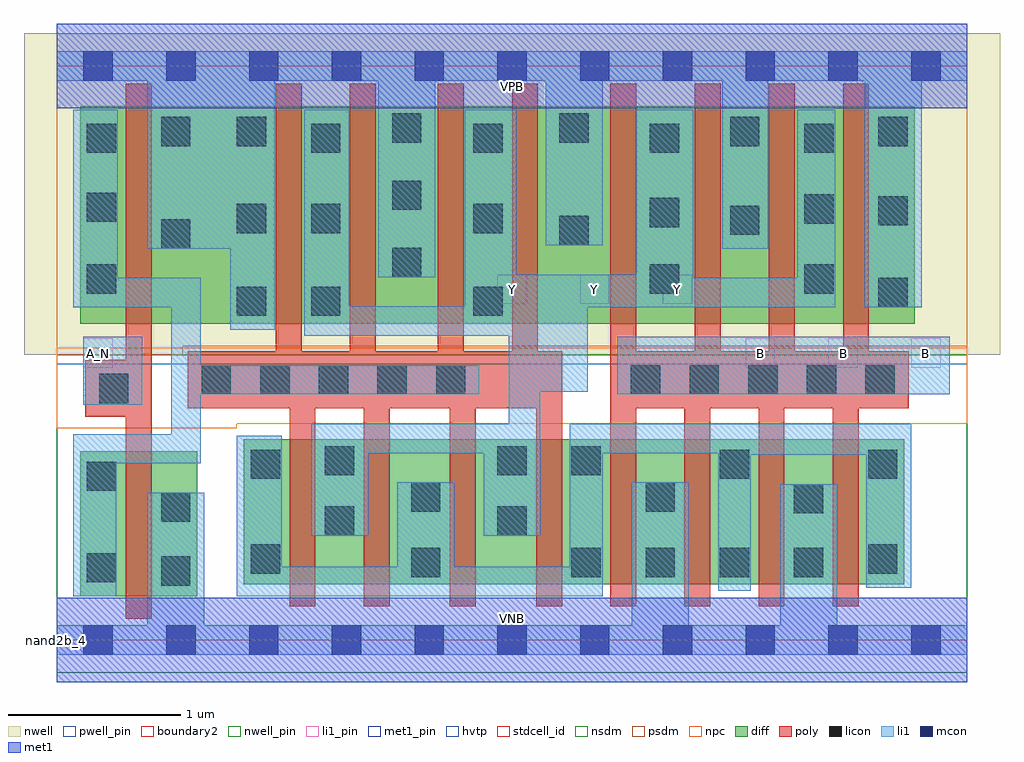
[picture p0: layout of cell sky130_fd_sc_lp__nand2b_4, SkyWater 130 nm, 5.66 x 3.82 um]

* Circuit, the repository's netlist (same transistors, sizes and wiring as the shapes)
* Copyright 2020 The SkyWater PDK Authors
*
* Licensed under the Apache License, Version 2.0 (the "License");
* you may not use this file except in compliance with the License.
* You may obtain a copy of the License at
*
*     https://www.apache.org/licenses/LICENSE-2.0
*
* Unless required by applicable law or agreed to in writing, software
* distributed under the License is distributed on an "AS IS" BASIS,
* WITHOUT WARRANTIES OR CONDITIONS OF ANY KIND, either express or implied.
* See the License for the specific language governing permissions and
* limitations under the License.
*
* SPDX-License-Identifier: Apache-2.0

.SUBCKT sky130_fd_sc_lp__nand2b_4 A_N B VGND VNB VPB VPWR Y
*.PININFO A_N:I B:I VGND:I VNB:I VPB:I VPWR:I Y:O
MMP0 Y A VPWR VPB sky130_fd_pr__pfet_01v8_hvt m=4 w=1.26U l=0.15U mult=1 sa=0.265
+ sb=0.265 sd=0.28 area=0.063 perim=1.14
MMP1 Y B VPWR VPB sky130_fd_pr__pfet_01v8_hvt m=4 w=1.26U l=0.15U mult=1 sa=0.265
+ sb=0.265 sd=0.28 area=0.063 perim=1.14
MMIP0 A A_N VPWR VPB sky130_fd_pr__pfet_01v8_hvt m=1 w=1.26U l=0.15U mult=1 sa=0.265
+ sb=0.265 sd=0.28 area=0.063 perim=1.14
MMN0 Y A sndA VNB sky130_fd_pr__nfet_01v8 m=4 w=0.84U l=0.15U mult=1 sa=0.265 sb=0.265
+ sd=0.28 area=0.063 perim=1.14
MMN1 sndA B VGND VNB sky130_fd_pr__nfet_01v8 m=4 w=0.84U l=0.15U mult=1 sa=0.265
+ sb=0.265 sd=0.28 area=0.063 perim=1.14
MMIN0 A A_N VGND VNB sky130_fd_pr__nfet_01v8 m=1 w=0.84U l=0.15U mult=1 sa=0.265
+ sb=0.265 sd=0.28 area=0.063 perim=1.14
.ENDS sky130_fd_sc_lp__nand2b_4

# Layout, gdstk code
import gdstk
lib = gdstk.Library(unit=1e-6, precision=1e-09)
def R(c, l, rs):  # rectangles x0, y0, x1, y1
    for r in rs: c.add(gdstk.rectangle(r[:2], r[2:], *l))
def A(c, l, x, y, w, h, nx, ny, dx, dy):  # array of equal rectangles
    R(c, l, [(x+i*dx, y+j*dy, x+i*dx+w, y+j*dy+h) for i in range(nx) for j in range(ny)])
def P(c, l, *ps):  # polygons
    for p in ps: c.add(gdstk.Polygon(p, *l))
nwell_pin = (64, 16)
nwell = (64, 20)
diff = (65, 20)
poly = (66, 20)
licon = (66, 44)
li1_pin = (67, 16)
li1 = (67, 20)
mcon = (67, 44)
met1_pin = (68, 16)
met1 = (68, 20)
hvtp = (78, 44)
stdcell_id = (81, 4)
nsdm = (93, 44)
psdm = (94, 20)
npc = (95, 20)
pwell_pin = (122, 16)
boundary2 = (236, 0)

sky130_fd_sc_lp__nand2b_ = lib.new_cell('sky130_fd_sc_lp__nand2b_4')
R(sky130_fd_sc_lp__nand2b_, nwell_pin, [(0,3.085,5.28,3.33)])
R(sky130_fd_sc_lp__nand2b_, nwell, [(-0.19,1.655,5.47,3.52)])
R(sky130_fd_sc_lp__nand2b_, diff, [(0.135,0.255,0.815,1.095), (1.085,0.325,4.915,1.165), (0.135,1.835,4.975,3.095)])
P(sky130_fd_sc_lp__nand2b_, poly, [(0.55,3.225),(0.4,3.225),(0.4,1.625),(0.165,1.625),(0.165,1.295),(0.4,1.295),(0.4,0.125),(0.55,0.125)],
  [(2.93,1.675),(2.79,1.675),(2.79,3.225),(2.64,3.225),(2.64,1.675),(2.36,1.675),(2.36,3.225),(2.21,3.225),(2.21,1.675),(1.85,1.675),(1.85,3.225),(1.7,3.225),(1.7,1.675),(1.42,1.675),(1.42,3.225),(1.27,3.225),(1.27,1.675),(0.76,1.675),(0.76,1.345),(1.35,1.345),(1.35,0.195),(1.5,0.195),(1.5,1.345),(1.78,1.345),(1.78,0.195),(1.93,0.195),(1.93,1.345),(2.28,1.345),(2.28,0.195),(2.43,0.195),(2.43,1.345),(2.78,1.345),(2.78,0.195),(2.93,0.195)],
  [(4.94,1.675),(4.71,1.675),(4.71,3.225),(4.56,3.225),(4.56,1.675),(4.28,1.675),(4.28,3.225),(4.13,3.225),(4.13,1.675),(3.85,1.675),(3.85,3.225),(3.7,3.225),(3.7,1.675),(3.36,1.675),(3.36,3.225),(3.21,3.225),(3.21,0.195),(3.36,0.195),(3.36,1.345),(3.64,1.345),(3.64,0.195),(3.79,0.195),(3.79,1.345),(4.07,1.345),(4.07,0.195),(4.22,0.195),(4.22,1.345),(4.5,1.345),(4.5,0.195),(4.65,0.195),(4.65,1.345),(4.94,1.345)])
A(sky130_fd_sc_lp__nand2b_, licon, 2.985, 0.365, 0.17, 0.17, 4, 1, 0.43, 0)
A(sky130_fd_sc_lp__nand2b_, licon, 0.84, 1.425, 0.17, 0.17, 5, 1, 0.34, 0)
A(sky130_fd_sc_lp__nand2b_, licon, 3.33, 1.425, 0.17, 0.17, 5, 1, 0.34, 0)
A(sky130_fd_sc_lp__nand2b_, licon, 1.945, 2.105, 0.17, 0.17, 1, 3, 0, 0.39)
R(sky130_fd_sc_lp__nand2b_, licon, [(0.605,0.315,0.775,0.485), (0.175,0.335,0.345,0.505), (2.055,0.365,2.225,0.535), (1.125,0.385,1.295,0.555), (4.705,0.385,4.875,0.555), (1.555,0.605,1.725,0.775), (2.555,0.605,2.725,0.775), (0.605,0.685,0.775,0.855), (4.275,0.735,4.445,0.905), (2.055,0.745,2.225,0.915), (3.415,0.745,3.585,0.915), (0.175,0.865,0.345,1.035), (1.125,0.935,1.295,1.105), (3.845,0.935,4.015,1.105), (4.705,0.935,4.875,1.105), (1.555,0.955,1.725,1.125), (2.555,0.955,2.725,1.125), (2.985,0.955,3.155,1.125), (0.245,1.375,0.415,1.545), (1.045,1.88,1.215,2.05), (1.475,1.88,1.645,2.05), (2.415,1.88,2.585,2.05), (4.765,1.93,4.935,2.1), (0.175,2.01,0.345,2.18), (3.44,2.01,3.61,2.18), (4.335,2.01,4.505,2.18), (0.605,2.27,0.775,2.44), (2.915,2.29,3.085,2.46), (3.905,2.35,4.075,2.52), (1.045,2.36,1.215,2.53), (1.475,2.36,1.645,2.53), (2.415,2.36,2.585,2.53), (3.44,2.395,3.61,2.565), (4.765,2.405,4.935,2.575), (4.335,2.415,4.505,2.585), (0.175,2.425,0.345,2.595), (0.175,2.825,0.345,2.995), (1.475,2.825,1.645,2.995), (2.415,2.825,2.585,2.995), (3.44,2.825,3.61,2.995), (4.335,2.825,4.505,2.995), (0.605,2.865,0.775,3.035), (1.045,2.865,1.215,3.035), (3.905,2.865,4.075,3.035), (4.765,2.865,4.935,3.035), (2.915,2.885,3.085,3.055)])
A(sky130_fd_sc_lp__nand2b_, li1_pin, 3.995, 1.58, 0.17, 0.17, 3, 1, 0.48, 0)
A(sky130_fd_sc_lp__nand2b_, li1_pin, 2.555, 1.95, 0.17, 0.17, 3, 1, 0.48, 0)
R(sky130_fd_sc_lp__nand2b_, li1_pin, [(0.155,1.58,0.325,1.75)])
R(sky130_fd_sc_lp__nand2b_, li1, [(0.155,1.365,0.495,1.76), (3.25,1.425,5.18,1.76)])
P(sky130_fd_sc_lp__nand2b_, li1, [(4.955,1.255),(2.975,1.255),(2.975,0.425),(2.305,0.425),(2.305,0.915),(1.975,0.915),(1.975,0.425),(1.305,0.425),(1.305,1.185),(1.045,1.185),(1.045,0.255),(3.165,0.255),(3.165,1.085),(3.835,1.085),(3.835,0.285),(4.025,0.285),(4.025,1.075),(4.695,1.075),(4.695,0.305),(4.955,0.305)],
  [(2.45,1.595),(0.835,1.595),(0.835,2.1),(0.355,2.1),(0.355,3.075),(0.095,3.075),(0.095,1.93),(0.665,1.93),(0.665,1.195),(0.095,1.195),(0.095,0.255),(0.345,0.255),(0.345,1.025),(0.835,1.025),(0.835,1.425),(2.45,1.425)],
  [(5.28,3.415),(0,3.415),(0,3.245),(0.525,3.245),(0.525,2.27),(1.005,2.27),(1.005,1.8),(1.265,1.8),(1.265,3.245),(1.865,3.245),(1.865,2.105),(2.195,2.105),(2.195,3.245),(2.835,3.245),(2.835,2.29),(3.165,2.29),(3.165,3.245),(3.86,3.245),(3.86,2.27),(4.125,2.27),(4.125,3.245),(4.685,3.245),(4.685,1.93),(5.015,1.93),(5.015,3.245),(5.28,3.245)],
  [(4.515,3.075),(4.295,3.075),(4.295,2.1),(3.69,2.1),(3.69,3.075),(3.36,3.075),(3.36,2.12),(2.665,2.12),(2.665,3.075),(2.365,3.075),(2.365,1.935),(1.695,1.935),(1.695,3.075),(1.435,3.075),(1.435,1.765),(2.62,1.765),(2.62,1.255),(1.475,1.255),(1.475,0.605),(1.805,0.605),(1.805,1.085),(2.475,1.085),(2.475,0.605),(2.805,0.605),(2.805,1.44),(3.08,1.44),(3.08,1.93),(4.515,1.93)],
  [(5.28,0.085),(4.525,0.085),(4.525,0.905),(4.195,0.905),(4.195,0.085),(3.665,0.085),(3.665,0.915),(3.335,0.915),(3.335,0.085),(0.855,0.085),(0.855,0.855),(0.525,0.855),(0.525,0.085),(0,0.085),(0,-0.085),(5.28,-0.085)])
A(sky130_fd_sc_lp__nand2b_, mcon, 0.155, -0.085, 0.17, 0.17, 11, 2, 0.48, 3.33)
R(sky130_fd_sc_lp__nand2b_, met1_pin, [(0,0,5.28,0.245), (0,3.085,5.28,3.33)])
R(sky130_fd_sc_lp__nand2b_, met1, [(0,-0.245,5.28,0.245), (0,3.085,5.28,3.575)])
R(sky130_fd_sc_lp__nand2b_, hvtp, [(0,1.6,5.28,3.33)])
R(sky130_fd_sc_lp__nand2b_, stdcell_id, [(0,0,5.28,3.33)])
R(sky130_fd_sc_lp__nand2b_, nsdm, [(0,-0.19,5.28,1.655)])
P(sky130_fd_sc_lp__nand2b_, psdm, [(5.28,3.52),(0,3.52),(0,1.655),(0.73,1.655),(0.73,1.705),(5.28,1.705)])
P(sky130_fd_sc_lp__nand2b_, npc, [(5.28,1.695),(0,1.695),(0,1.23),(1.045,1.23),(1.045,1.255),(5.28,1.255)])
R(sky130_fd_sc_lp__nand2b_, pwell_pin, [(0,0,5.28,0.245)])
R(sky130_fd_sc_lp__nand2b_, boundary2, [(0,0,5.28,3.33)])
sky130_fd_sc_lp__nand2b_.add(gdstk.Label('VNB', (2.64,0.123), layer=64, texttype=59))
sky130_fd_sc_lp__nand2b_.add(gdstk.Label('VPB', (2.64,3.208), layer=64, texttype=5))
sky130_fd_sc_lp__nand2b_.add(gdstk.Label('nand2b_4', (0,0), layer=83, texttype=44))
sky130_fd_sc_lp__nand2b_.add(gdstk.Label('VPWR', (2.64,3.208), layer=68, texttype=5))
sky130_fd_sc_lp__nand2b_.add(gdstk.Label('VGND', (2.64,0.123), layer=68, texttype=5))
sky130_fd_sc_lp__nand2b_.add(gdstk.Label('B', (4.08,1.665), layer=67, texttype=5))
sky130_fd_sc_lp__nand2b_.add(gdstk.Label('B', (4.56,1.665), layer=67, texttype=5))
sky130_fd_sc_lp__nand2b_.add(gdstk.Label('B', (5.04,1.665), layer=67, texttype=5))
sky130_fd_sc_lp__nand2b_.add(gdstk.Label('A_N', (0.24,1.665), layer=67, texttype=5))
sky130_fd_sc_lp__nand2b_.add(gdstk.Label('Y', (2.64,2.035), layer=67, texttype=5))
sky130_fd_sc_lp__nand2b_.add(gdstk.Label('Y', (3.12,2.035), layer=67, texttype=5))
sky130_fd_sc_lp__nand2b_.add(gdstk.Label('Y', (3.6,2.035), layer=67, texttype=5))

lib.write_gds('sky130_fd_sc_lp__nand2b_4.gds')
